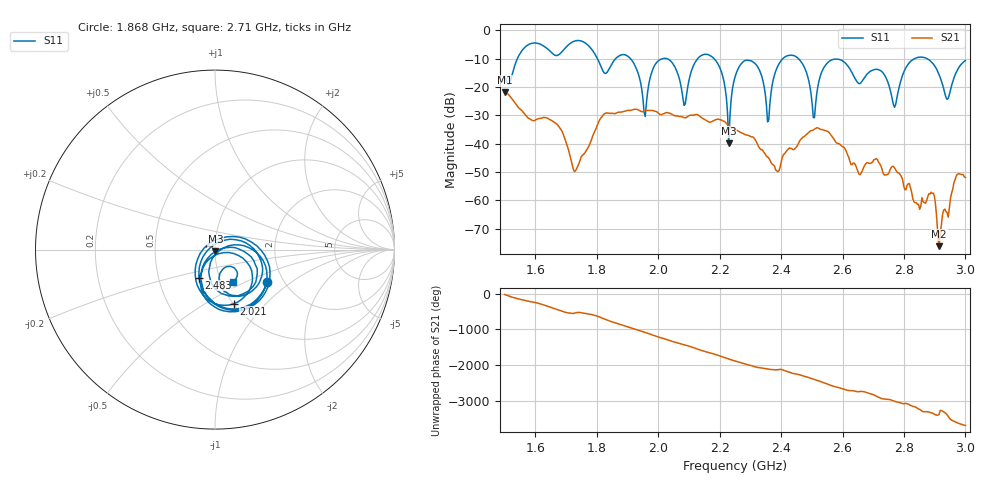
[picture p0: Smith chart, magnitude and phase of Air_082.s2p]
# HZ S RI R 50
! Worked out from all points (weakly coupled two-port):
!   404 points, 1.5 GHz to 3 GHz, reference 50 ohm
!   highest |S21| = -21.91 dB at 1.5 GHz (marker M1); lowest = -76.2 dB at 2.914 GHz (marker M2)
!   lowest |S11| = -39.9 dB at 2.23 GHz (marker M3), VSWR 1.02, Z = 50.2 - j0.979 ohm
!   |S11| at or under -10 dB: 2.182 GHz to 2.406 GHz (224.4 MHz wide, 9.78 % of centre); 2.456 GHz to 2.835 GHz (378.8 MHz wide, 14.3 % of centre); 2.875 GHz to end of sweep (the widest 3 of 7)
!   S12 and S22 are empty: the file has one direction only
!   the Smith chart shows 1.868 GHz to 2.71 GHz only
!   S11 on the Smith chart (normalised r, x): 1.868 GHz: 1.65, -0.67; 2.021 GHz: 1.01, -0.68; 2.483 GHz: 0.80, -0.26; 2.71 GHz: 1.13, -0.42
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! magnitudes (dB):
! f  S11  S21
! 1.5 GHz  -16.2  -21.9
! 1.753 GHz  -3.9  -44.2
! 1.868 GHz  -9.4  -29.0
! 1.958 GHz  -30.4  -28.4
! 2.002 GHz  -10.6  -29.4
! 2.021 GHz  -9.9  -29.3
! 2.084 GHz  -26.5  -30.8
! 2.177 GHz  -9.6  -32.0
! 2.23 GHz  -39.9  -33.6
! 2.252 GHz  -15.9  -35.0
! 2.315 GHz  -11.7  -38.5
! 2.356 GHz  -32.3  -44.7
! 2.39 GHz  -12.6  -49.9
! 2.483 GHz  -14.9  -36.7
! 2.501 GHz  -26.0  -35.3
! 2.565 GHz  -10.5  -37.3
! 2.71 GHz  -13.8  -45.3
! 2.751 GHz  -19.3  -50.5
! 2.892 GHz  -11.5  -57.5
! 2.914 GHz  -15.7  -76.2
! 2.94 GHz  -24.4  -64.4
! 3 GHz  -10.7  -51.9
